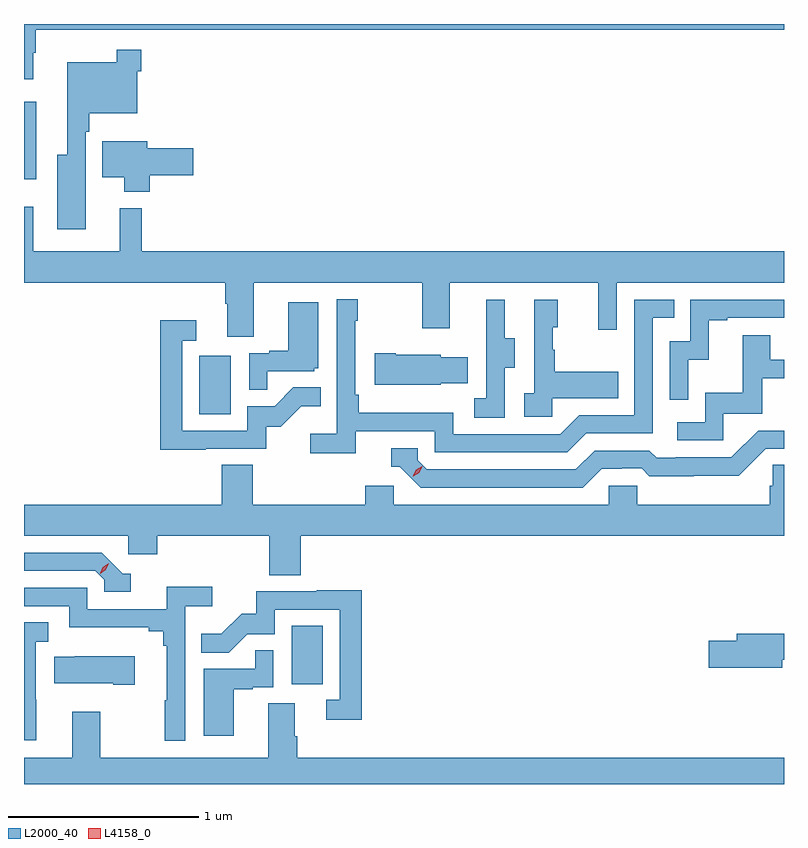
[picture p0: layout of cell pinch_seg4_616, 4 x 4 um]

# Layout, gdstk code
import gdstk
lib = gdstk.Library(unit=1e-6, precision=1e-09)
def R(c, l, rs):  # rectangles x0, y0, x1, y1
    for r in rs: c.add(gdstk.rectangle(r[:2], r[2:], *l))
def P(c, l, *ps):  # polygons
    for p in ps: c.add(gdstk.Polygon(p, *l))
L2000_40 = (2000, 40)
L4158_0 = (4158, 0)

pinch_seg4_616 = lib.new_cell('pinch_seg4_616')
R(pinch_seg4_616, L2000_40, [(1070.678,761.406,1070.842,761.713), (1070.192,762.828,1070.356,763.135), (1069.269,764.063,1069.333,764.473)])
P(pinch_seg4_616, L2000_40, [(1069.318,764.729),(1069.33,764.729),(1069.33,764.852),(1073.269,764.852),(1073.269,764.881),(1069.269,764.881),(1069.269,764.589),(1069.318,764.589)],
  [(1069.594,764.315),(1069.613,764.315),(1069.613,764.411),(1069.866,764.411),(1069.866,764.633),(1069.886,764.633),(1069.886,764.746),(1069.758,764.746),(1069.758,764.68),(1069.496,764.68),(1069.496,764.194),(1069.445,764.194),(1069.445,763.802),(1069.594,763.802)],
  [(1069.931,764.086),(1070.161,764.086),(1070.161,764.228),(1069.918,764.228),(1069.918,764.263),(1069.682,764.263),(1069.682,764.075),(1069.796,764.075),(1069.796,763.997),(1069.931,763.997)],
  [(1070.479,763.52),(1071.364,763.52),(1071.364,763.281),(1071.511,763.281),(1071.511,763.52),(1072.292,763.52),(1072.292,763.272),(1072.389,763.272),(1072.389,763.52),(1073.269,763.52),(1073.269,763.684),(1069.889,763.684),(1069.889,763.912),(1069.772,763.912),(1069.772,763.684),(1069.317,763.684),(1069.317,763.918),(1069.269,763.918),(1069.269,763.52),(1070.327,763.52),(1070.327,763.408),(1070.339,763.408),(1070.339,763.234),(1070.479,763.234)],
  [(1071.014,762.738),(1071.432,762.738),(1071.432,762.627),(1072.129,762.627),(1072.228,762.726),(1072.578,762.726),(1072.578,763.335),(1072.691,763.335),(1072.691,763.431),(1072.482,763.431),(1072.482,762.822),(1072.191,762.822),(1072.092,762.723),(1071.528,762.723),(1071.528,762.835),(1071.032,762.835),(1071.032,762.931),(1071.012,762.931),(1071.012,763.319),(1071.025,763.319),(1071.025,763.432),(1070.916,763.432),(1070.916,762.724),(1070.775,762.724),(1070.775,762.622),(1071.014,762.622)],
  [(1072.764,763.115),(1072.874,763.115),(1072.874,763.323),(1072.969,763.323),(1072.969,763.335),(1073.269,763.335),(1073.269,763.431),(1072.776,763.431),(1072.776,763.212),(1072.668,763.212),(1072.668,762.903),(1072.764,762.903)],
  [(1072.05,762.911),(1072.397,762.911),(1072.397,763.051),(1072.063,763.051),(1072.063,763.166),(1072.053,763.166),(1072.053,763.284),(1072.078,763.284),(1072.078,763.429),(1071.954,763.429),(1071.954,762.938),(1071.903,762.938),(1071.903,762.813),(1072.05,762.813)],
  [(1071.798,763.072),(1071.853,763.072),(1071.853,763.227),(1071.799,763.227),(1071.799,763.429),(1071.701,763.429),(1071.701,763.215),(1071.702,763.215),(1071.702,762.911),(1071.639,762.911),(1071.639,762.808),(1071.798,762.808)],
  [(1070.549,763.053),(1070.796,763.053),(1070.796,763.068),(1070.818,763.068),(1070.818,763.417),(1070.66,763.417),(1070.66,763.162),(1070.561,763.162),(1070.561,763.149),(1070.454,763.149),(1070.454,762.955),(1070.549,762.955)],
  [(1070.225,762.645),(1070.544,762.645),(1070.544,762.762),(1070.62,762.762),(1070.727,762.869),(1070.831,762.869),(1070.831,762.968),(1070.687,762.968),(1070.589,762.87),(1070.445,762.87),(1070.445,762.741),(1070.103,762.741),(1070.103,763.215),(1070.176,763.215),(1070.176,763.321),(1069.987,763.321),(1069.987,762.64),(1070.225,762.64)],
  [(1072.95,762.831),(1073.155,762.831),(1073.155,763.017),(1073.269,763.017),(1073.269,763.113),(1073.197,763.113),(1073.197,763.243),(1073.053,763.243),(1073.053,762.94),(1072.854,762.94),(1072.854,762.786),(1072.707,762.786),(1072.707,762.69),(1072.95,762.69)],
  [(1071.462,762.989),(1071.605,762.989),(1071.605,763.126),(1071.462,763.126),(1071.462,763.141),(1071.226,763.141),(1071.226,763.149),(1071.114,763.149),(1071.114,762.983),(1071.462,762.983)],
  [(1072.309,762.54),(1072.416,762.54),(1072.416,762.543),(1072.519,762.543),(1072.561,762.501),(1072.794,762.501),(1072.794,762.503),(1073.03,762.503),(1073.172,762.645),(1073.269,762.645),(1073.269,762.741),(1073.133,762.741),(1072.992,762.6),(1072.699,762.6),(1072.699,762.597),(1072.6,762.597),(1072.561,762.636),(1072.272,762.636),(1072.173,762.537),(1071.39,762.537),(1071.342,762.585),(1071.342,762.648),(1071.203,762.648),(1071.203,762.552),(1071.246,762.552),(1071.357,762.441),(1072.21,762.441)],
  [(1070.726,762.188),(1073.269,762.188),(1073.269,762.56),(1073.209,762.56),(1073.209,762.45),(1073.195,762.45),(1073.195,762.352),(1072.497,762.352),(1072.497,762.45),(1072.347,762.45),(1072.347,762.352),(1071.216,762.352),(1071.216,762.45),(1071.065,762.45),(1071.065,762.352),(1070.474,762.352),(1070.474,762.56),(1070.309,762.56),(1070.309,762.352),(1069.269,762.352),(1069.269,762.188),(1069.818,762.188),(1069.818,762.09),(1069.97,762.09),(1069.97,762.188),(1070.561,762.188),(1070.561,761.98),(1070.726,761.98)],
  [(1069.831,761.988),(1069.788,761.988),(1069.677,762.099),(1069.269,762.099),(1069.269,762.003),(1069.644,762.003),(1069.692,761.955),(1069.692,761.892),(1069.831,761.892)],
  [(1070.118,761.816),(1070.26,761.816),(1070.26,761.918),(1070.021,761.918),(1070.021,761.802),(1069.602,761.802),(1069.602,761.913),(1069.269,761.913),(1069.269,761.817),(1069.506,761.817),(1069.506,761.705),(1069.925,761.705),(1069.925,761.686),(1070.002,761.686),(1070.002,761.609),(1070.021,761.609),(1070.021,761.321),(1070.01,761.321),(1070.01,761.109),(1070.118,761.109)],
  [(1071.047,761.9),(1070.809,761.9),(1070.809,761.895),(1070.491,761.895),(1070.491,761.778),(1070.414,761.778),(1070.307,761.671),(1070.203,761.671),(1070.203,761.572),(1070.347,761.572),(1070.445,761.67),(1070.589,761.67),(1070.589,761.799),(1070.931,761.799),(1070.931,761.325),(1070.859,761.325),(1070.859,761.22),(1071.047,761.22)],
  [(1069.334,761.325),(1069.332,761.325),(1069.332,761.629),(1069.396,761.629),(1069.396,761.732),(1069.269,761.732),(1069.269,761.112),(1069.334,761.112)],
  [(1073.26,761.536),(1073.269,761.536),(1073.269,761.672),(1073.021,761.672),(1073.021,761.636),(1072.872,761.636),(1072.872,761.494),(1073.26,761.494)],
  [(1070.374,761.379),(1070.474,761.379),(1070.474,761.391),(1070.58,761.391),(1070.58,761.585),(1070.485,761.585),(1070.485,761.487),(1070.216,761.487),(1070.216,761.136),(1070.374,761.136)],
  [(1069.852,761.554),(1069.537,761.554),(1069.537,761.551),(1069.429,761.551),(1069.429,761.411),(1069.739,761.411),(1069.739,761.404),(1069.852,761.404)],
  [(1073.269,761.02),(1070.708,761.02),(1070.708,761.132),(1070.695,761.132),(1070.695,761.306),(1070.555,761.306),(1070.555,761.02),(1069.671,761.02),(1069.671,761.26),(1069.523,761.26),(1069.523,761.02),(1069.269,761.02),(1069.269,760.881),(1073.269,760.881)])
P(pinch_seg4_616, L4158_0, [(1071.316,762.501),(1071.316,762.501),(1071.333,762.534),(1071.364,762.553),(1071.364,762.553),(1071.364,762.552),(1071.348,762.52),(1071.317,762.501)],
  [(1069.669,761.988),(1069.669,761.989),(1069.684,762.022),(1069.714,762.042),(1069.714,762.042),(1069.714,762.042),(1069.699,762.009),(1069.669,761.988)])

lib.write_gds('pinch_seg4_616.gds')
